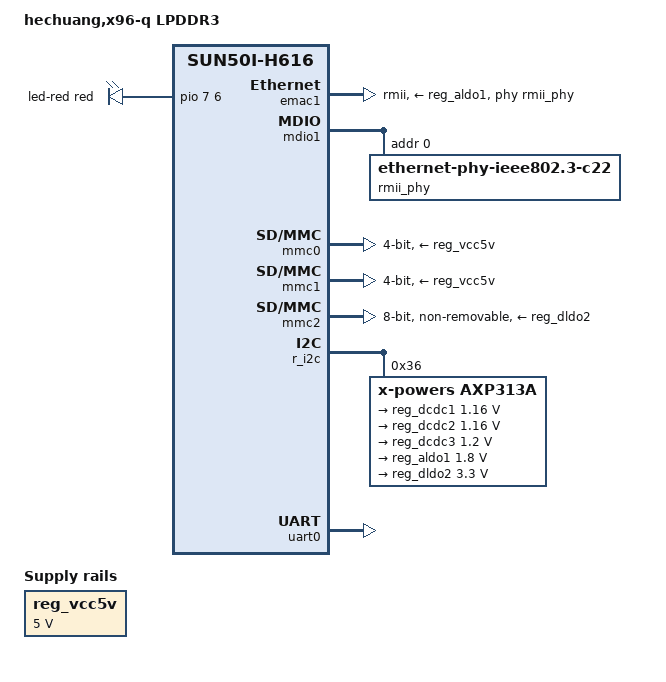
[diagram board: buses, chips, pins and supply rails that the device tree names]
// SPDX-License-Identifier: (GPL-2.0+ or MIT)
/*
 * Author: piotr.oniszczuk@gmail.com
 */

/dts-v1/;

#include "sun50i-h616.dtsi"

#include <dt-bindings/gpio/gpio.h>
#include <dt-bindings/interrupt-controller/arm-gic.h>
#include <dt-bindings/leds/common.h>

/ {
	model = "hechuang,x96-q LPDDR3";
	compatible = "hechuang,x96-q", "allwinner,sun50i-h616";

	aliases {
		mmc0 = &mmc0;
		mmc2 = &mmc2;
		ethernet0 = &emac1;
		serial0 = &uart0;
	};

	chosen {
		stdout-path = "serial0:115200n8";
	};

	leds {
		compatible = "gpio-leds";

		led-red {
			function = LED_FUNCTION_DISK_ACTIVITY;
			color = <LED_COLOR_ID_RED>;
			gpios = <&pio 7 6 GPIO_ACTIVE_HIGH>; /* PH6 */
			linux,default-trigger = "mmc0";
		};
	};

	reg_vcc5v: vcc5v {
		/* board wide 5V supply directly from the USB-C socket */
		compatible = "regulator-fixed";
		regulator-name = "vcc-5v";
		regulator-min-microvolt = <5000000>;
		regulator-max-microvolt = <5000000>;
		regulator-always-on;
	};
};

&cpu0 {
	cpu-supply = <&reg_dcdc2>;
	status = "okay";
};

&cpu1 {
	cpu-supply = <&reg_dcdc2>;
	status = "okay";
};

&cpu2 {
	cpu-supply = <&reg_dcdc2>;
	status = "okay";
};

&cpu3 {
	cpu-supply = <&reg_dcdc2>;
	status = "okay";
};

&emac1 {
	pinctrl-names = "default";
	pinctrl-0 = <&rmii_pins>;
	phy-mode = "rmii";
	phy-handle = <&rmii_phy>;
	phy-supply = <&reg_aldo1>;
	allwinner,rx-delay-ps = <3100>;
	allwinner,tx-delay-ps = <700>;
	status = "okay";
};

&mdio1 {
	rmii_phy: ethernet-phy@0 {
		compatible = "ethernet-phy-ieee802.3-c22";
		reg = <0>;
	};
};

&mmc0 {
	vmmc-supply = <&reg_vcc5v>;
	broken-cd;
	bus-width = <4>;
	status = "okay";
};

&mmc1 {
	vmmc-supply = <&reg_vcc5v>;
	broken-cd;
	bus-width = <4>;
	status = "okay";
};

&mmc2 {
	vmmc-supply = <&reg_dldo2>;
	bus-width = <8>;
	non-removable;
	cap-mmc-hw-reset;
	status = "okay";
};

&r_i2c {
	status = "okay";

	axp313a: pmic@36 {
		compatible = "x-powers,axp313a";
		reg = <0x36>;
		wakeup-source;

		regulators {
			reg_dcdc1: dcdc1 {
				regulator-always-on;
				regulator-min-microvolt = <1160000>;
				regulator-max-microvolt = <1160000>;
				regulator-name = "vdd-cpu";
			};

			reg_dcdc2: dcdc2 {
				regulator-always-on;
				regulator-min-microvolt = <1160000>;
				regulator-max-microvolt = <1160000>;
				regulator-name = "vdd-gpu-sys";
			};

			reg_dcdc3: dcdc3 {
				regulator-always-on;
				regulator-min-microvolt = <1200000>;
				regulator-max-microvolt = <1200000>;
				regulator-name = "vdd-dram";
			};

			reg_aldo1: ldo1 {
				regulator-always-on;
				regulator-min-microvolt = <1800000>;
				regulator-max-microvolt = <1800000>;
				regulator-name = "vcc-sys";
			};

			reg_dldo2: ldo2 {
				regulator-always-on;
				regulator-min-microvolt = <3300000>;
				regulator-max-microvolt = <3300000>;
				regulator-name = "vcc3v3-ext";
			};
		};
	};
};

&uart0 {
	pinctrl-names = "default";
	pinctrl-0 = <&uart0_ph_pins>;
	status = "okay";
};
